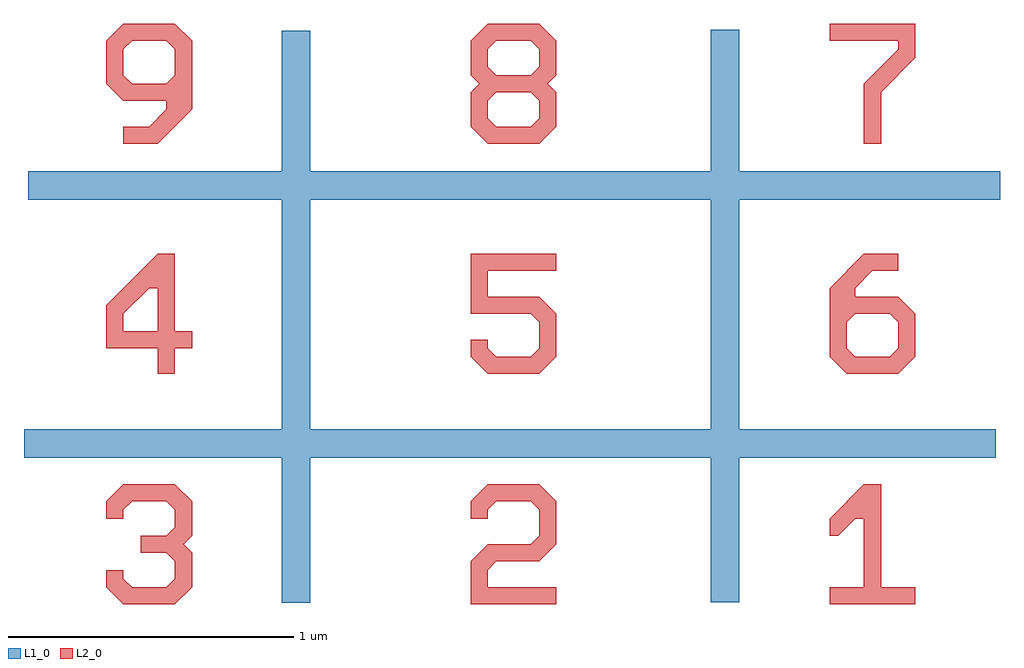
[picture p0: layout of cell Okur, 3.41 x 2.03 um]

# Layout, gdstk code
import gdstk
lib = gdstk.Library(unit=1e-6, precision=1e-09)
def R(c, l, rs):  # rectangles x0, y0, x1, y1
    for r in rs: c.add(gdstk.rectangle(r[:2], r[2:], *l))
def P(c, l, *ps):  # polygons
    for p in ps: c.add(gdstk.Polygon(p, *l))
L1_0 = (1, 0)
L2_0 = (2, 0)

text = lib.new_cell('TEXT')
P(text, L2_0, [(0,0),(0,0.1),(0.2,0.1),(0.2,0.5),(0.15,0.5),(0.05,0.4),(0,0.4),(0,0.5),(0.2,0.7),(0.3,0.7),(0.3,0.1),(0.5,0.1),(0.5,0)])

text_1 = lib.new_cell('TEXT$1')
P(text_1, L2_0, [(0,0),(0,0.25),(0.1,0.35),(0.35,0.35),(0.4,0.4),(0.4,0.55),(0.35,0.6),(0.15,0.6),(0.1,0.55),(0.1,0.5),(0,0.5),(0,0.6),(0.1,0.7),(0.4,0.7),(0.5,0.6),(0.5,0.35),(0.4,0.25),(0.15,0.25),(0.1,0.2),(0.1,0.1),(0.5,0.1),(0.5,0)])

text_2 = lib.new_cell('TEXT$2')
P(text_2, L2_0, [(0.3,0),(0.3,0.15),(0,0.15),(0,0.25),(0.3,0.25),(0.3,0.5),(0.25,0.5),(0.1,0.35),(0.1,0.25),(0,0.25),(0,0.4),(0.3,0.7),(0.4,0.7),(0.4,0.25),(0.5,0.25),(0.5,0.15),(0.4,0.15),(0.4,0)])

text_3 = lib.new_cell('TEXT$3')
P(text_3, L2_0, [(0.1,0),(0,0.1),(0,0.2),(0.1,0.2),(0.1,0.15),(0.15,0.1),(0.35,0.1),(0.4,0.15),(0.4,0.3),(0.35,0.35),(0,0.35),(0,0.7),(0.5,0.7),(0.5,0.6),(0.1,0.6),(0.1,0.45),(0.4,0.45),(0.5,0.35),(0.5,0.1),(0.4,0)])

text_4 = lib.new_cell('TEXT$4')
P(text_4, L2_0, [(0.1,0),(0.1,0.1),(0.25,0.1),(0.35,0.2),(0.35,0.25),(0.1,0.25),(0,0.35),(0.35,0.35),(0.4,0.4),(0.4,0.55),(0.35,0.6),(0.15,0.6),(0.1,0.55),(0.1,0.4),(0.15,0.35),(0,0.35),(0,0.6),(0.1,0.7),(0.4,0.7),(0.5,0.6),(0.5,0.2),(0.3,0)])

text_5 = lib.new_cell('TEXT$5')
P(text_5, L2_0, [(0.1,0),(0,0.1),(0,0.5),(0.2,0.7),(0.4,0.7),(0.4,0.6),(0.25,0.6),(0.15,0.5),(0.15,0.45),(0.4,0.45),(0.5,0.35),(0.15,0.35),(0.1,0.3),(0.1,0.15),(0.15,0.1),(0.35,0.1),(0.4,0.15),(0.4,0.3),(0.35,0.35),(0.5,0.35),(0.5,0.1),(0.4,0)])

text_6 = lib.new_cell('TEXT$6')
P(text_6, L2_0, [(0.2,0),(0.2,0.35),(0.4,0.55),(0.4,0.6),(0,0.6),(0,0.7),(0.5,0.7),(0.5,0.5),(0.3,0.3),(0.3,0)])

text_7 = lib.new_cell('TEXT$7')
P(text_7, L2_0, [(0.1,0),(0,0.1),(0,0.3),(0.05,0.35),(0,0.4),(0,0.6),(0.1,0.7),(0.4,0.7),(0.5,0.6),(0.15,0.6),(0.1,0.55),(0.1,0.45),(0.15,0.4),(0.35,0.4),(0.4,0.45),(0.4,0.55),(0.35,0.6),(0.5,0.6),(0.5,0.4),(0.45,0.35),(0.5,0.3),(0.15,0.3),(0.1,0.25),(0.1,0.15),(0.15,0.1),(0.35,0.1),(0.4,0.15),(0.4,0.25),(0.35,0.3),(0.5,0.3),(0.5,0.1),(0.4,0)])

text_8 = lib.new_cell('TEXT$8')
P(text_8, L2_0, [(0.1,0),(0,0.1),(0,0.2),(0.1,0.2),(0.1,0.15),(0.15,0.1),(0.35,0.1),(0.4,0.15),(0.4,0.25),(0.35,0.3),(0.2,0.3),(0.2,0.4),(0.35,0.4),(0.4,0.45),(0.4,0.55),(0.35,0.6),(0.15,0.6),(0.1,0.55),(0.1,0.5),(0,0.5),(0,0.6),(0.1,0.7),(0.4,0.7),(0.5,0.6),(0.5,0.4),(0.45,0.35),(0.5,0.3),(0.5,0.1),(0.4,0)])

okur = lib.new_cell('Okur')
R(okur, L1_0, [(-65.853,-0.709,-65.753,1.292), (-64.353,-0.707,-64.253,1.294), (-66.755,-0.203,-63.355,-0.103), (-66.741,0.7,-63.341,0.8)])
okur.add(gdstk.Reference(text, (-63.937,-0.715), magnification=0.6))
okur.add(gdstk.Reference(text_1, (-65.193,-0.715), magnification=0.6))
okur.add(gdstk.Reference(text_2, (-66.467,0.091), magnification=0.6))
okur.add(gdstk.Reference(text_3, (-65.193,0.091), magnification=0.6))
okur.add(gdstk.Reference(text_4, (-66.467,0.896), magnification=0.6))
okur.add(gdstk.Reference(text_5, (-63.937,0.091), magnification=0.6))
okur.add(gdstk.Reference(text_6, (-63.937,0.896), magnification=0.6))
okur.add(gdstk.Reference(text_7, (-65.193,0.896), magnification=0.6))
okur.add(gdstk.Reference(text_8, (-66.467,-0.715), magnification=0.6))

lib.write_gds('Okur.gds')
